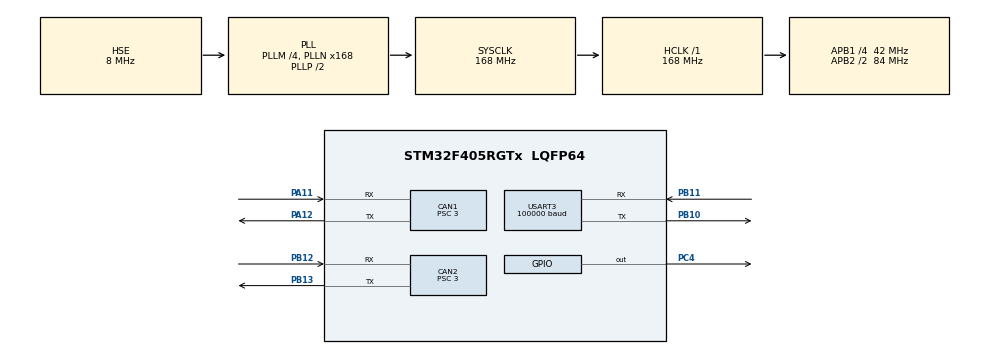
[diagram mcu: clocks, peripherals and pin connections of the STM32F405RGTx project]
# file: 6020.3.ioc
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CAN1.ABOM=ENABLE
CAN1.BS1=CAN_BS1_10TQ
CAN1.BS2=CAN_BS2_3TQ
CAN1.CalculateTimeQuantum=71.42857142857143
CAN1.Prescaler=3
CAN2.BS1=CAN_BS1_9TQ
CAN2.BS2=CAN_BS2_4TQ
CAN2.CalculateTimeQuantum=71.42857142857143
CAN2.Prescaler=3
Dma.Request0=USART3_RX
Dma.USART3_RX.0.Direction=DMA_PERIPH_TO_MEMORY
Dma.USART3_RX.0.FIFOMode=DMA_FIFOMODE_DISABLE
Dma.USART3_RX.0.Instance=DMA1_Stream1
Dma.USART3_RX.0.MemDataAlignment=DMA_MDATAALIGN_BYTE
Dma.USART3_RX.0.MemInc=DMA_MINC_ENABLE
Dma.USART3_RX.0.Mode=DMA_NORMAL
Dma.USART3_RX.0.PeriphDataAlignment=DMA_PDATAALIGN_BYTE
Dma.USART3_RX.0.PeriphInc=DMA_PINC_DISABLE
Dma.USART3_RX.0.Priority=DMA_PRIORITY_LOW
FREERTOS.Tasks01=Chassis_Task,24,1024,ChassisTask,Default,NULL,Dynamic,NULL,NULL;Gimbal_Task,25,2048,GimbalTask,Default,NULL,Dynamic,NULL,NULL
Mcu.Family=STM32F4
Mcu.Name=STM32F405RGTx
Mcu.Package=LQFP64
NVIC.CAN1_RX0_IRQn=true\:5\:0\:false\:false\:true\:true\:true\:true\:true
NVIC.CAN1_RX1_IRQn=true\:5\:0\:false\:false\:true\:true\:true\:true\:true
NVIC.CAN1_SCE_IRQn=true\:5\:0\:false\:false\:true\:true\:true\:true\:true
NVIC.CAN1_TX_IRQn=true\:5\:0\:false\:false\:true\:true\:true\:true\:true
NVIC.DMA1_Stream1_IRQn=true\:5\:0\:false\:false\:true\:true\:false\:true\:true
NVIC.PriorityGroup=NVIC_PRIORITYGROUP_4
NVIC.TIM2_IRQn=true\:0\:0\:false\:false\:true\:false\:false\:true\:true
NVIC.TimeBase=TIM2_IRQn
NVIC.TimeBaseIP=TIM2
NVIC.USART3_IRQn=true\:5\:0\:false\:false\:true\:true\:true\:true\:true
PA11.Mode=Master
PA11.Signal=CAN1_RX
PA12.Mode=Master
PA12.Signal=CAN1_TX
PA13.Mode=Serial_Wire
PA13.Signal=SYS_JTMS-SWDIO
PA14.Mode=Serial_Wire
PA14.Signal=SYS_JTCK-SWCLK
PB10.Mode=Asynchronous
PB10.Signal=USART3_TX
PB11.Mode=Asynchronous
PB11.Signal=USART3_RX
PB12.Mode=Slave
PB12.Signal=CAN2_RX
PB13.Mode=Slave
PB13.Signal=CAN2_TX
PC4.GPIO_Speed=GPIO_SPEED_FREQ_HIGH
PC4.Signal=GPIO_Output
PH0-OSC_IN.Mode=HSE-External-Oscillator
PH0-OSC_IN.Signal=RCC_OSC_IN
PH1-OSC_OUT.Mode=HSE-External-Oscillator
PH1-OSC_OUT.Signal=RCC_OSC_OUT
ProjectManager.HeapSize=0x200
ProjectManager.StackSize=0x400
ProjectManager.TargetToolchain=MDK-ARM V5
RCC.48MHZClocksFreq_Value=84000000
RCC.AHBFreq_Value=168000000
RCC.APB1CLKDivider=RCC_HCLK_DIV4
RCC.APB1Freq_Value=42000000
RCC.APB1TimFreq_Value=84000000
RCC.APB2CLKDivider=RCC_HCLK_DIV2
RCC.APB2Freq_Value=84000000
RCC.APB2TimFreq_Value=168000000
RCC.CortexFreq_Value=168000000
RCC.HCLKFreq_Value=168000000
RCC.HSE_VALUE=8000000
RCC.HSI_VALUE=16000000
RCC.LSE_VALUE=32768
RCC.PLLM=4
RCC.PLLN=168
RCC.PLLSourceVirtual=RCC_PLLSOURCE_HSE
RCC.SYSCLKFreq_VALUE=168000000
RCC.SYSCLKSource=RCC_SYSCLKSOURCE_PLLCLK
RCC.VCOOutputFreq_Value=336000000
USART3.BaudRate=100000
USART3.VirtualMode=VM_ASYNC
VP_FREERTOS_VS_CMSIS_V2.Mode=CMSIS_V2
VP_SYS_VS_tim2.Mode=TIM2
board=custom

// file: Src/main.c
/* USER CODE BEGIN Header */
/**
  ******************************************************************************
  * @file           : main.c
  * @brief          : Main program body
  ******************************************************************************
  * @attention
  *
  * Copyright (c) 2025 STMicroelectronics.
  * All rights reserved.
  *
  * This software is licensed under terms that can be found in the LICENSE file
  * in the root directory of this software component.
  * If no LICENSE file comes with this software, it is provided AS-IS.
  *
  ******************************************************************************
  */
/* USER CODE END Header */

#include "main.h"
#include "cmsis_os.h"
#include "can.h"
#include "dma.h"
#include "usart.h"
#include "gpio.h"

/* USER CODE BEGIN Includes */

#include "gimbal_control.h"
/* USER CODE END Includes */

/* USER CODE BEGIN PD */

#include "bsp_Dbus.h"
#include "motor_can.h"
#include "motor_double_pid.h"
#include "unit_conversation.h"

/* USER CODE END PD */

void SystemClock_Config(void);
void MX_FREERTOS_Init(void);

/* USER CODE BEGIN 0 */

void Stop_All_Motors(void)
{
    Set_Motor_Torque(0, 0x1FF, 5);
    Set_Motor_Torque(0, 0x1FF, 6);
    Set_Motor_Torque(0, 0x1FF, 7);
}

/* USER CODE END 0 */

int main(void)
{

  /* MCU Configuration--------------------------------------------------------*/

  /* Reset of all peripherals, Initializes the Flash interface and the Systick. */
  HAL_Init();

  /* Configure the system clock */
  SystemClock_Config();

  /* Initialize all configured peripherals */
  MX_GPIO_Init();
  MX_DMA_Init();
  MX_CAN1_Init();
  MX_USART3_UART_Init();
  MX_CAN2_Init();
  /* USER CODE BEGIN 2 */

  DBus_Control_init();
  Enable_CAN1(0);

  /* 示例：为不同电机分配不同的双环 PID 参数（可选） */
  //DoublePID_SetParams(0, &double_pid_cfg_variant1);
  //DoublePID_SetParams(1, &double_pid_cfg_variant2);

  /* USER CODE END 2 */
  /* Init scheduler */
  //osKernelInitialize();

  /* Call init function for freertos objects (in freertos.c) */
  //MX_FREERTOS_Init();

  /* Start scheduler */
  //osKernelStart();

  /* We should never get here as control is now taken by the scheduler */

  /* Infinite loop */

  /* USER CODE BEGIN WHILE */
  /* 使用新的 gimbal 控制模块，按题主要求在 main 中仅保留两段接口调用：
   * 1) 进入 reset 并完成全部 homing（顺序 lift->pitch->yaw），记录新坐标系零点
   * 2) 进入 ready，并让三台电机逐步到位（lift->pitch->yaw）
   * 具体行为与参数集中在 User/Inc/config.h 和 User/Src/config.c 中，便于调整。
   */
  Gimbal_Init();
/* 阻塞完成一次 reset（第一次 reset 完成后进入下面的检测循环） */
  if (!Gimbal_ResetAndBlock()) {
    /* reset 失败：进入安全态（把三台电机扭矩置零，并停在此处） */
    Stop_All_Motors();
    while (1) {
      HAL_Delay(1000);
    }
  }
  if (!Gimbal_ReadyAndBlock()) {
    /* ready 未到位或失败：保持安全扭矩（不强制死循环），继续检测 */
    Stop_All_Motors();
  }

  /*
   * 第一次 reset 完成后进入无限检测循环：
   * - rc_ctrl.s[1] == 1: 再次进入 reset（阻塞）
   * - rc_ctrl.s[1] == 2: 不动（保持当前状态）
   * - rc_ctrl.s[1] == 3: 进入 ready（阻塞）
   * 检测与动作完成后继续循环检测。
   */
  while (1)
  {
    uint8_t s = rc_ctrl.s[1];

    if (s == 1) {
      /* 要求重新 reset */
      if (!Gimbal_ResetAndBlock()) {
        /* reset 失败：进入安全态 */
        Stop_All_Motors();
        while (1) {
          HAL_Delay(1000);
        }
      }
    } else if (s == 3) {
      /* 要求进入 ready */
      if (!Gimbal_ReadyAndBlock()) {
        /* ready 未到位或失败：保持安全扭矩（不强制死循环），继续检测 */
        Stop_All_Motors();
      }
    } else {
      //Stop_All_Motors();
      /* s == 2 或 其他值：不动，保持当前状态 */
    }

    //Set_Motor_Torque(1000, 0x1FF, 5);

    /* 保留原有的周期性最小主循环工作（例如保持通訊或扭矩） */
    Set_Motor_Torque(1000, 0x1FF, 3);
    // if (rc_ctrl.s[1] == 1) {
    //     // 紧急停止：把电机扭矩置零
    //   Stop_All_Motors();
    // } else if(rc_ctrl.s[1] == 2) {
    //   /* 进入正常运行逻辑 - 这里保持最小化主逻辑，具体控制可在 gimbal_control 或其它模块实现 */
    //   if (!Gimbal_ReadyAndBlock()) {
    //     /* ready 未到位，依然进入主循环但保持安全扭矩 */
    //     Stop_All_Motors();
    //   }
    //   if (!Gimbal_ResetAndBlock()) {
    //     /* reset 失败：进入安全态（把三台电机扭矩置零，并停在此处） */
    //     Stop_All_Motors();
    //     while (1) {
    //       HAL_Delay(1000);
    //     }
    //   }
    // }
    HAL_Delay(10);
    /* USER CODE END WHILE */

  }
}

void SystemClock_Config(void)
{
  RCC_OscInitTypeDef RCC_OscInitStruct = {0};
  RCC_ClkInitTypeDef RCC_ClkInitStruct = {0};

  /** Configure the main internal regulator output voltage
  */
  __HAL_RCC_PWR_CLK_ENABLE();
  __HAL_PWR_VOLTAGESCALING_CONFIG(PWR_REGULATOR_VOLTAGE_SCALE1);
  /** Initializes the CPU, AHB and APB busses clocks
  */
  RCC_OscInitStruct.OscillatorType = RCC_OSCILLATORTYPE_HSE;
  RCC_OscInitStruct.HSEState = RCC_HSE_ON;
  RCC_OscInitStruct.PLL.PLLState = RCC_PLL_ON;
  RCC_OscInitStruct.PLL.PLLSource = RCC_PLLSOURCE_HSE;
  RCC_OscInitStruct.PLL.PLLM = 4;
  RCC_OscInitStruct.PLL.PLLN = 168;
  RCC_OscInitStruct.PLL.PLLP = RCC_PLLP_DIV2;
  RCC_OscInitStruct.PLL.PLLQ = 4;
  if (HAL_RCC_OscConfig(&RCC_OscInitStruct) != HAL_OK)
  {
    Error_Handler();
  }
  /** Initializes the CPU, AHB and APB busses clocks
  */
  RCC_ClkInitStruct.ClockType = RCC_CLOCKTYPE_HCLK|RCC_CLOCKTYPE_SYSCLK
                              |RCC_CLOCKTYPE_PCLK1|RCC_CLOCKTYPE_PCLK2;
  RCC_ClkInitStruct.SYSCLKSource = RCC_SYSCLKSOURCE_PLLCLK;
  RCC_ClkInitStruct.AHBCLKDivider = RCC_SYSCLK_DIV1;
  RCC_ClkInitStruct.APB1CLKDivider = RCC_HCLK_DIV4;
  RCC_ClkInitStruct.APB2CLKDivider = RCC_HCLK_DIV2;

  if (HAL_RCC_ClockConfig(&RCC_ClkInitStruct, FLASH_LATENCY_5) != HAL_OK)
  {
    Error_Handler();
  }
}

void HAL_TIM_PeriodElapsedCallback(TIM_HandleTypeDef *htim)
{
  if (htim->Instance == TIM2) {
    HAL_IncTick();
  }
}

void Error_Handler(void)
{
  __disable_irq();
  while (1)
  {
  }
}

/************************ (C) COPYRIGHT STMicroelectronics *****END OF FILE****/
